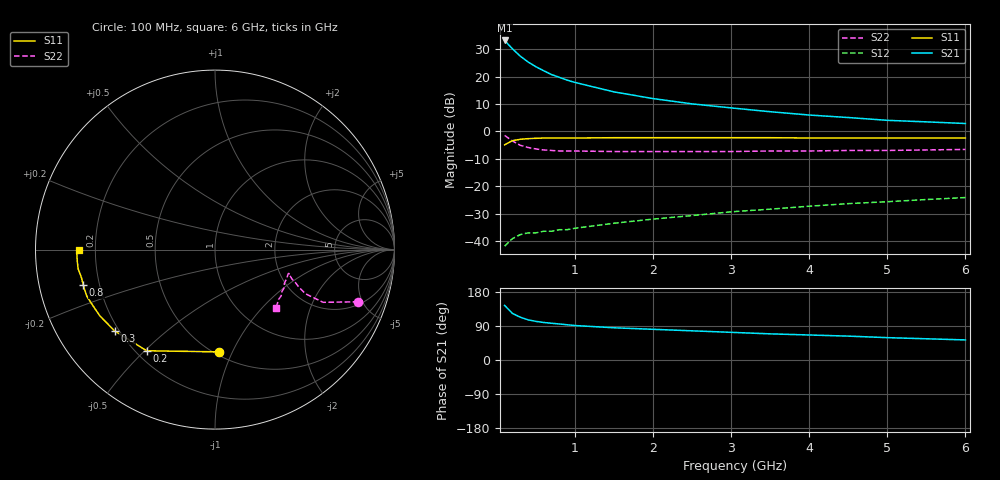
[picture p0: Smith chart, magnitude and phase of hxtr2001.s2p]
!{XTR-2001 Common Emitter Vce=15V  Ic=25mA  ghz s ma r 50}
# GHZ S MA R 50
!f  s11  s21  s12  s22
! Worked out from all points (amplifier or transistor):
!   20 points, 100 MHz to 6 GHz, reference 50 ohm
!   highest |S21| = 33.3 dB at 100 MHz (marker M1)
!   |S21| within 3 dB of that: start of sweep to 198.2 MHz
!   unconditionally stable (mu >= 1): 865.7 MHz to end of sweep
!   at 400 MHz: K = 0.50, MSG = 31.3 dB, |S12| = -37.1 dB
!   at 1.5 GHz: K = 1.28, MAG = 20.9 dB, |S12| = -33.6 dB
!   at 6 GHz: K = 1.61, MAG = 9.0 dB, |S12| = -24.2 dB
!   S11 on the Smith chart (normalised r, x): 100 MHz: 0.53, -0.89; 200 MHz: 0.24, -0.51; 300 MHz: 0.18, -0.34; 800 MHz: 0.14, -0.13; 6 GHz: 0.14, -0.00
0.1  0.57 -88.0  46.2 144.0  0.008 58.0  0.85 -20.0
0.2  0.68 -124.0  32.5 123.0  0.011 43.0  0.67 -26.0
0.3  0.72 -141.0  23.9 113.0  0.013 37.0  0.56 -26.0
0.4  0.74 -150.0  18.7 106.0  0.014 35.0  0.51 -24.0
0.5  0.75 -156.0  15.3 102.0  0.014 35.0  0.48 -22.0
0.6  0.76 -160.0  12.9 99.0  0.015 36.0  0.46 -21.0
0.7  0.76 -163.0  11 97.0  0.015 37.0  0.45 -20.0
0.8  0.76 -165.0  9.8 95.0  0.016 38.0  0.44 -19.0
0.9  0.76 -167.0  8.7 93.0  0.016 40.0  0.44 -18.0
1  0.76 -168.0  7.9 91.0  0.017 42.0  0.44 -18.0
1.5  0.77 -172.0  5.3 85.0  0.021 49.0  0.43 -18.0
2  0.77 -175.0  4 81.0  0.025 54.0  0.43 -20.0
2.5  0.77 -176.0  3.2 77.0  0.029 58.0  0.43 -23.0
3  0.77 -177.0  2.7 73.0  0.034 60.0  0.43 -26.0
3.5  0.77 -178.0  2.3 69.0  0.038 61.0  0.44 -29.0
4  0.76 -179.0  2 66.0  0.043 62.0  0.44 -32.0
4.5  0.76 -179.0  1.8 63.0  0.048 62.0  0.45 -35.0
5  0.76 -179.0  1.6 59.0  0.052 62.0  0.45 -38.0
5.5  0.76 -180.0  1.5 56.0  0.057 62.0  0.46 -41.0
6  0.76 -180.0  1.4 53.0  0.062 61.0  0.47 -44.0
